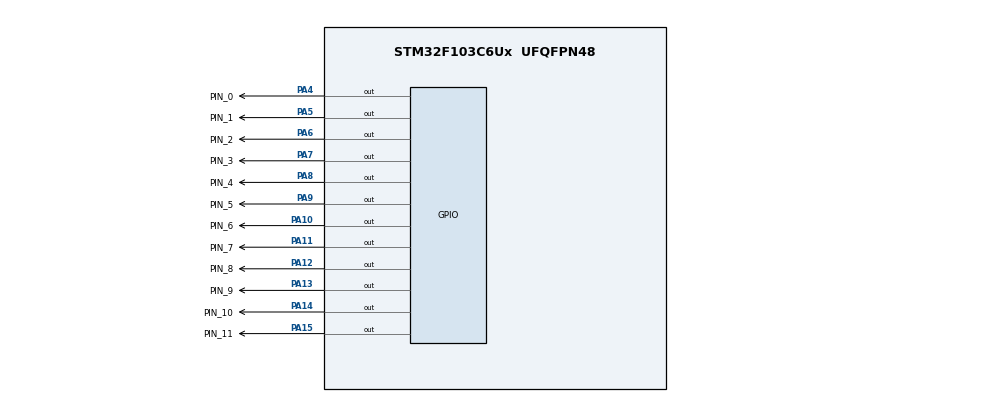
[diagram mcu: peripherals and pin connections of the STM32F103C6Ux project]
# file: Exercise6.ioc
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Mcu.Family=STM32F1
Mcu.Name=STM32F103C6Ux
Mcu.Package=UFQFPN48
NVIC.PriorityGroup=NVIC_PRIORITYGROUP_4
PA10.GPIO_Label=PIN_6
PA10.Signal=GPIO_Output
PA11.GPIO_Label=PIN_7
PA11.Signal=GPIO_Output
PA12.GPIO_Label=PIN_8
PA12.Signal=GPIO_Output
PA13.GPIO_Label=PIN_9
PA13.Signal=GPIO_Output
PA14.GPIO_Label=PIN_10
PA14.Signal=GPIO_Output
PA15.GPIO_Label=PIN_11
PA15.Signal=GPIO_Output
PA4.GPIO_Label=PIN_0
PA4.Signal=GPIO_Output
PA5.GPIO_Label=PIN_1
PA5.Signal=GPIO_Output
PA6.GPIO_Label=PIN_2
PA6.Signal=GPIO_Output
PA7.GPIO_Label=PIN_3
PA7.Signal=GPIO_Output
PA8.GPIO_Label=PIN_4
PA8.Signal=GPIO_Output
PA9.GPIO_Label=PIN_5
PA9.Signal=GPIO_Output
ProjectManager.HeapSize=0x200
ProjectManager.StackSize=0x400
ProjectManager.TargetToolchain=STM32CubeIDE
RCC.APB1Freq_Value=8000000
RCC.APB2Freq_Value=8000000
VP_SYS_VS_ND.Mode=No_Debug
board=custom

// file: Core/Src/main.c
/* USER CODE BEGIN Header */
/**
  ******************************************************************************
  * @file           : main.c
  * @brief          : Main program body
  ******************************************************************************
  * @attention
  *
  * <h2><center>&copy; Copyright (c) 2022 STMicroelectronics.
  * All rights reserved.</center></h2>
  *
  * This software component is licensed by ST under BSD 3-Clause license,
  * the "License"; You may not use this file except in compliance with the
  * License. You may obtain a copy of the License at:
  *                        opensource.org/licenses/BSD-3-Clause
  *
  ******************************************************************************
  */
/* USER CODE END Header */
#include "main.h"

void SystemClock_Config(void);
static void MX_GPIO_Init(void);

int main(void)
{

  /* MCU Configuration--------------------------------------------------------*/

  /* Reset of all peripherals, Initializes the Flash interface and the Systick. */
  HAL_Init();

  /* Configure the system clock */
  SystemClock_Config();

  /* Initialize all configured peripherals */
  MX_GPIO_Init();

  /* Infinite loop */
  /* USER CODE BEGIN WHILE */
  int x;
  scanf("%d", &x);
  while (1)
  {
    /* USER CODE END WHILE */

    /* USER CODE BEGIN 3 */
		  switch(x)
		  {
		  case 12:
			  HAL_GPIO_WritePin(PIN_0_GPIO_Port, PIN_0_Pin, RESET);
			  HAL_GPIO_WritePin(PIN_1_GPIO_Port, PIN_1_Pin, SET);
			  HAL_GPIO_WritePin(PIN_2_GPIO_Port, PIN_2_Pin, SET);
			  HAL_GPIO_WritePin(PIN_3_GPIO_Port, PIN_3_Pin, SET);
			  HAL_GPIO_WritePin(PIN_4_GPIO_Port, PIN_4_Pin, SET);
			  HAL_GPIO_WritePin(PIN_5_GPIO_Port, PIN_5_Pin, SET);
			  HAL_GPIO_WritePin(PIN_6_GPIO_Port, PIN_6_Pin, SET);
			  HAL_GPIO_WritePin(PIN_7_GPIO_Port, PIN_7_Pin, SET);
			  HAL_GPIO_WritePin(PIN_8_GPIO_Port, PIN_8_Pin, SET);
			  HAL_GPIO_WritePin(PIN_9_GPIO_Port, PIN_9_Pin, SET);
			  HAL_GPIO_WritePin(PIN_10_GPIO_Port, PIN_10_Pin, SET);
			  HAL_GPIO_WritePin(PIN_11_GPIO_Port, PIN_11_Pin, SET);
			  break;
		  case 1:
			  HAL_GPIO_WritePin(PIN_1_GPIO_Port, PIN_1_Pin, RESET);
			  HAL_GPIO_WritePin(PIN_0_GPIO_Port, PIN_0_Pin, SET);
			  HAL_GPIO_WritePin(PIN_2_GPIO_Port, PIN_2_Pin, SET);
			  HAL_GPIO_WritePin(PIN_3_GPIO_Port, PIN_3_Pin, SET);
			  HAL_GPIO_WritePin(PIN_4_GPIO_Port, PIN_4_Pin, SET);
			  HAL_GPIO_WritePin(PIN_5_GPIO_Port, PIN_5_Pin, SET);
			  HAL_GPIO_WritePin(PIN_6_GPIO_Port, PIN_6_Pin, SET);
			  HAL_GPIO_WritePin(PIN_7_GPIO_Port, PIN_7_Pin, SET);
			  HAL_GPIO_WritePin(PIN_8_GPIO_Port, PIN_8_Pin, SET);
			  HAL_GPIO_WritePin(PIN_9_GPIO_Port, PIN_9_Pin, SET);
			  HAL_GPIO_WritePin(PIN_10_GPIO_Port, PIN_10_Pin, SET);
			  HAL_GPIO_WritePin(PIN_11_GPIO_Port, PIN_11_Pin, SET);
			  break;
		  case 2:
			  HAL_GPIO_WritePin(PIN_2_GPIO_Port, PIN_2_Pin, RESET);
			  HAL_GPIO_WritePin(PIN_1_GPIO_Port, PIN_1_Pin, SET);
			  HAL_GPIO_WritePin(PIN_0_GPIO_Port, PIN_0_Pin, SET);
			  HAL_GPIO_WritePin(PIN_3_GPIO_Port, PIN_3_Pin, SET);
			  HAL_GPIO_WritePin(PIN_4_GPIO_Port, PIN_4_Pin, SET);
			  HAL_GPIO_WritePin(PIN_5_GPIO_Port, PIN_5_Pin, SET);
			  HAL_GPIO_WritePin(PIN_6_GPIO_Port, PIN_6_Pin, SET);
			  HAL_GPIO_WritePin(PIN_7_GPIO_Port, PIN_7_Pin, SET);
			  HAL_GPIO_WritePin(PIN_8_GPIO_Port, PIN_8_Pin, SET);
			  HAL_GPIO_WritePin(PIN_9_GPIO_Port, PIN_9_Pin, SET);
			  HAL_GPIO_WritePin(PIN_10_GPIO_Port, PIN_10_Pin, SET);
			  HAL_GPIO_WritePin(PIN_11_GPIO_Port, PIN_11_Pin, SET);
			  break;
		  case 3:
			  HAL_GPIO_WritePin(PIN_3_GPIO_Port, PIN_3_Pin, RESET);
			  HAL_GPIO_WritePin(PIN_1_GPIO_Port, PIN_1_Pin, SET);
			  HAL_GPIO_WritePin(PIN_2_GPIO_Port, PIN_2_Pin, SET);
			  HAL_GPIO_WritePin(PIN_0_GPIO_Port, PIN_0_Pin, SET);
			  HAL_GPIO_WritePin(PIN_4_GPIO_Port, PIN_4_Pin, SET);
			  HAL_GPIO_WritePin(PIN_5_GPIO_Port, PIN_5_Pin, SET);
			  HAL_GPIO_WritePin(PIN_6_GPIO_Port, PIN_6_Pin, SET);
			  HAL_GPIO_WritePin(PIN_7_GPIO_Port, PIN_7_Pin, SET);
			  HAL_GPIO_WritePin(PIN_8_GPIO_Port, PIN_8_Pin, SET);
			  HAL_GPIO_WritePin(PIN_9_GPIO_Port, PIN_9_Pin, SET);
			  HAL_GPIO_WritePin(PIN_10_GPIO_Port, PIN_10_Pin, SET);
			  HAL_GPIO_WritePin(PIN_11_GPIO_Port, PIN_11_Pin, SET);
			  break;
		  case 4:
			  HAL_GPIO_WritePin(PIN_4_GPIO_Port, PIN_4_Pin, RESET);
			  HAL_GPIO_WritePin(PIN_1_GPIO_Port, PIN_1_Pin, SET);
			  HAL_GPIO_WritePin(PIN_2_GPIO_Port, PIN_2_Pin, SET);
			  HAL_GPIO_WritePin(PIN_3_GPIO_Port, PIN_3_Pin, SET);
			  HAL_GPIO_WritePin(PIN_0_GPIO_Port, PIN_0_Pin, SET);
			  HAL_GPIO_WritePin(PIN_5_GPIO_Port, PIN_5_Pin, SET);
			  HAL_GPIO_WritePin(PIN_6_GPIO_Port, PIN_6_Pin, SET);
			  HAL_GPIO_WritePin(PIN_7_GPIO_Port, PIN_7_Pin, SET);
			  HAL_GPIO_WritePin(PIN_8_GPIO_Port, PIN_8_Pin, SET);
			  HAL_GPIO_WritePin(PIN_9_GPIO_Port, PIN_9_Pin, SET);
			  HAL_GPIO_WritePin(PIN_10_GPIO_Port, PIN_10_Pin, SET);
			  HAL_GPIO_WritePin(PIN_11_GPIO_Port, PIN_11_Pin, SET);
			  break;
		  case 5:
			  HAL_GPIO_WritePin(PIN_5_GPIO_Port, PIN_5_Pin, RESET);
			  HAL_GPIO_WritePin(PIN_1_GPIO_Port, PIN_1_Pin, SET);
			  HAL_GPIO_WritePin(PIN_2_GPIO_Port, PIN_2_Pin, SET);
			  HAL_GPIO_WritePin(PIN_3_GPIO_Port, PIN_3_Pin, SET);
			  HAL_GPIO_WritePin(PIN_4_GPIO_Port, PIN_4_Pin, SET);
			  HAL_GPIO_WritePin(PIN_0_GPIO_Port, PIN_0_Pin, SET);
			  HAL_GPIO_WritePin(PIN_6_GPIO_Port, PIN_6_Pin, SET);
			  HAL_GPIO_WritePin(PIN_7_GPIO_Port, PIN_7_Pin, SET);
			  HAL_GPIO_WritePin(PIN_8_GPIO_Port, PIN_8_Pin, SET);
			  HAL_GPIO_WritePin(PIN_9_GPIO_Port, PIN_9_Pin, SET);
			  HAL_GPIO_WritePin(PIN_10_GPIO_Port, PIN_10_Pin, SET);
			  HAL_GPIO_WritePin(PIN_11_GPIO_Port, PIN_11_Pin, SET);
			  break;
		  case 6:
			  HAL_GPIO_WritePin(PIN_6_GPIO_Port, PIN_6_Pin, RESET);
			  HAL_GPIO_WritePin(PIN_1_GPIO_Port, PIN_1_Pin, SET);
			  HAL_GPIO_WritePin(PIN_2_GPIO_Port, PIN_2_Pin, SET);
			  HAL_GPIO_WritePin(PIN_3_GPIO_Port, PIN_3_Pin, SET);
			  HAL_GPIO_WritePin(PIN_4_GPIO_Port, PIN_4_Pin, SET);
			  HAL_GPIO_WritePin(PIN_5_GPIO_Port, PIN_5_Pin, SET);
			  HAL_GPIO_WritePin(PIN_0_GPIO_Port, PIN_0_Pin, SET);
			  HAL_GPIO_WritePin(PIN_7_GPIO_Port, PIN_7_Pin, SET);
			  HAL_GPIO_WritePin(PIN_8_GPIO_Port, PIN_8_Pin, SET);
			  HAL_GPIO_WritePin(PIN_9_GPIO_Port, PIN_9_Pin, SET);
			  HAL_GPIO_WritePin(PIN_10_GPIO_Port, PIN_10_Pin, SET);
			  HAL_GPIO_WritePin(PIN_11_GPIO_Port, PIN_11_Pin, SET);
			  break;
		  case 7:
			  HAL_GPIO_WritePin(PIN_7_GPIO_Port, PIN_7_Pin, RESET);
			  HAL_GPIO_WritePin(PIN_1_GPIO_Port, PIN_1_Pin, SET);
			  HAL_GPIO_WritePin(PIN_2_GPIO_Port, PIN_2_Pin, SET);
			  HAL_GPIO_WritePin(PIN_3_GPIO_Port, PIN_3_Pin, SET);
			  HAL_GPIO_WritePin(PIN_4_GPIO_Port, PIN_4_Pin, SET);
			  HAL_GPIO_WritePin(PIN_5_GPIO_Port, PIN_5_Pin, SET);
			  HAL_GPIO_WritePin(PIN_6_GPIO_Port, PIN_6_Pin, SET);
			  HAL_GPIO_WritePin(PIN_0_GPIO_Port, PIN_0_Pin, SET);
			  HAL_GPIO_WritePin(PIN_8_GPIO_Port, PIN_8_Pin, SET);
			  HAL_GPIO_WritePin(PIN_9_GPIO_Port, PIN_9_Pin, SET);
			  HAL_GPIO_WritePin(PIN_10_GPIO_Port, PIN_10_Pin, SET);
			  HAL_GPIO_WritePin(PIN_11_GPIO_Port, PIN_11_Pin, SET);
			  break;
		  case 8:
			  HAL_GPIO_WritePin(PIN_8_GPIO_Port, PIN_8_Pin, RESET);
			  HAL_GPIO_WritePin(PIN_1_GPIO_Port, PIN_1_Pin, SET);
			  HAL_GPIO_WritePin(PIN_2_GPIO_Port, PIN_2_Pin, SET);
			  HAL_GPIO_WritePin(PIN_3_GPIO_Port, PIN_3_Pin, SET);
			  HAL_GPIO_WritePin(PIN_4_GPIO_Port, PIN_4_Pin, SET);
			  HAL_GPIO_WritePin(PIN_5_GPIO_Port, PIN_5_Pin, SET);
			  HAL_GPIO_WritePin(PIN_6_GPIO_Port, PIN_6_Pin, SET);
			  HAL_GPIO_WritePin(PIN_7_GPIO_Port, PIN_7_Pin, SET);
			  HAL_GPIO_WritePin(PIN_0_GPIO_Port, PIN_0_Pin, SET);
			  HAL_GPIO_WritePin(PIN_9_GPIO_Port, PIN_9_Pin, SET);
			  HAL_GPIO_WritePin(PIN_10_GPIO_Port, PIN_10_Pin, SET);
			  HAL_GPIO_WritePin(PIN_11_GPIO_Port, PIN_11_Pin, SET);
			  break;
		  case 9:
			  HAL_GPIO_WritePin(PIN_9_GPIO_Port, PIN_9_Pin, RESET);
			  HAL_GPIO_WritePin(PIN_1_GPIO_Port, PIN_1_Pin, SET);
			  HAL_GPIO_WritePin(PIN_2_GPIO_Port, PIN_2_Pin, SET);
			  HAL_GPIO_WritePin(PIN_3_GPIO_Port, PIN_3_Pin, SET);
			  HAL_GPIO_WritePin(PIN_4_GPIO_Port, PIN_4_Pin, SET);
			  HAL_GPIO_WritePin(PIN_5_GPIO_Port, PIN_5_Pin, SET);
			  HAL_GPIO_WritePin(PIN_6_GPIO_Port, PIN_6_Pin, SET);
			  HAL_GPIO_WritePin(PIN_7_GPIO_Port, PIN_7_Pin, SET);
			  HAL_GPIO_WritePin(PIN_8_GPIO_Port, PIN_8_Pin, SET);
			  HAL_GPIO_WritePin(PIN_0_GPIO_Port, PIN_0_Pin, SET);
			  HAL_GPIO_WritePin(PIN_10_GPIO_Port, PIN_10_Pin, SET);
			  HAL_GPIO_WritePin(PIN_11_GPIO_Port, PIN_11_Pin, SET);
			  break;
		  case 10:
			  HAL_GPIO_WritePin(PIN_10_GPIO_Port, PIN_10_Pin, RESET);
			  HAL_GPIO_WritePin(PIN_1_GPIO_Port, PIN_1_Pin, SET);
			  HAL_GPIO_WritePin(PIN_2_GPIO_Port, PIN_2_Pin, SET);
			  HAL_GPIO_WritePin(PIN_3_GPIO_Port, PIN_3_Pin, SET);
			  HAL_GPIO_WritePin(PIN_4_GPIO_Port, PIN_4_Pin, SET);
			  HAL_GPIO_WritePin(PIN_5_GPIO_Port, PIN_5_Pin, SET);
			  HAL_GPIO_WritePin(PIN_6_GPIO_Port, PIN_6_Pin, SET);
			  HAL_GPIO_WritePin(PIN_7_GPIO_Port, PIN_7_Pin, SET);
			  HAL_GPIO_WritePin(PIN_8_GPIO_Port, PIN_8_Pin, SET);
			  HAL_GPIO_WritePin(PIN_9_GPIO_Port, PIN_9_Pin, SET);
			  HAL_GPIO_WritePin(PIN_0_GPIO_Port, PIN_0_Pin, SET);
			  HAL_GPIO_WritePin(PIN_11_GPIO_Port, PIN_11_Pin, SET);
			  break;
		  case 11:
			  HAL_GPIO_WritePin(PIN_11_GPIO_Port, PIN_11_Pin, RESET);
			  HAL_GPIO_WritePin(PIN_1_GPIO_Port, PIN_1_Pin, SET);
			  HAL_GPIO_WritePin(PIN_2_GPIO_Port, PIN_2_Pin, SET);
			  HAL_GPIO_WritePin(PIN_3_GPIO_Port, PIN_3_Pin, SET);
			  HAL_GPIO_WritePin(PIN_4_GPIO_Port, PIN_4_Pin, SET);
			  HAL_GPIO_WritePin(PIN_5_GPIO_Port, PIN_5_Pin, SET);
			  HAL_GPIO_WritePin(PIN_6_GPIO_Port, PIN_6_Pin, SET);
			  HAL_GPIO_WritePin(PIN_7_GPIO_Port, PIN_7_Pin, SET);
			  HAL_GPIO_WritePin(PIN_8_GPIO_Port, PIN_8_Pin, SET);
			  HAL_GPIO_WritePin(PIN_9_GPIO_Port, PIN_9_Pin, SET);
			  HAL_GPIO_WritePin(PIN_10_GPIO_Port, PIN_10_Pin, SET);
			  HAL_GPIO_WritePin(PIN_0_GPIO_Port, PIN_0_Pin, SET);
			  break;
		  default:
			  HAL_GPIO_WritePin(PIN_0_GPIO_Port, PIN_0_Pin, RESET);
			  HAL_GPIO_WritePin(PIN_1_GPIO_Port, PIN_1_Pin, SET);
			  HAL_GPIO_WritePin(PIN_2_GPIO_Port, PIN_2_Pin, SET);
			  HAL_GPIO_WritePin(PIN_3_GPIO_Port, PIN_3_Pin, SET);
			  HAL_GPIO_WritePin(PIN_4_GPIO_Port, PIN_4_Pin, SET);
			  HAL_GPIO_WritePin(PIN_5_GPIO_Port, PIN_5_Pin, SET);
			  HAL_GPIO_WritePin(PIN_6_GPIO_Port, PIN_6_Pin, SET);
			  HAL_GPIO_WritePin(PIN_7_GPIO_Port, PIN_7_Pin, SET);
			  HAL_GPIO_WritePin(PIN_8_GPIO_Port, PIN_8_Pin, SET);
			  HAL_GPIO_WritePin(PIN_9_GPIO_Port, PIN_9_Pin, SET);
			  HAL_GPIO_WritePin(PIN_10_GPIO_Port, PIN_10_Pin, SET);
			  HAL_GPIO_WritePin(PIN_11_GPIO_Port, PIN_11_Pin, SET);
		  }
		  HAL_Delay(1000);
  }
  /* USER CODE END 3 */
}

void SystemClock_Config(void)
{
  RCC_OscInitTypeDef RCC_OscInitStruct = {0};
  RCC_ClkInitTypeDef RCC_ClkInitStruct = {0};

  /** Initializes the RCC Oscillators according to the specified parameters
  * in the RCC_OscInitTypeDef structure.
  */
  RCC_OscInitStruct.OscillatorType = RCC_OSCILLATORTYPE_HSI;
  RCC_OscInitStruct.HSIState = RCC_HSI_ON;
  RCC_OscInitStruct.HSICalibrationValue = RCC_HSICALIBRATION_DEFAULT;
  RCC_OscInitStruct.PLL.PLLState = RCC_PLL_NONE;
  if (HAL_RCC_OscConfig(&RCC_OscInitStruct) != HAL_OK)
  {
    Error_Handler();
  }
  /** Initializes the CPU, AHB and APB buses clocks
  */
  RCC_ClkInitStruct.ClockType = RCC_CLOCKTYPE_HCLK|RCC_CLOCKTYPE_SYSCLK
                              |RCC_CLOCKTYPE_PCLK1|RCC_CLOCKTYPE_PCLK2;
  RCC_ClkInitStruct.SYSCLKSource = RCC_SYSCLKSOURCE_HSI;
  RCC_ClkInitStruct.AHBCLKDivider = RCC_SYSCLK_DIV1;
  RCC_ClkInitStruct.APB1CLKDivider = RCC_HCLK_DIV1;
  RCC_ClkInitStruct.APB2CLKDivider = RCC_HCLK_DIV1;

  if (HAL_RCC_ClockConfig(&RCC_ClkInitStruct, FLASH_LATENCY_0) != HAL_OK)
  {
    Error_Handler();
  }
}

static void MX_GPIO_Init(void)
{
  GPIO_InitTypeDef GPIO_InitStruct = {0};

  /* GPIO Ports Clock Enable */
  __HAL_RCC_GPIOA_CLK_ENABLE();

  /*Configure GPIO pin Output Level */
  HAL_GPIO_WritePin(GPIOA, PIN_0_Pin|PIN_1_Pin|PIN_2_Pin|PIN_3_Pin
                          |PIN_4_Pin|PIN_5_Pin|PIN_6_Pin|PIN_7_Pin
                          |PIN_8_Pin|PIN_9_Pin|PIN_10_Pin|PIN_11_Pin, GPIO_PIN_RESET);

  /*Configure GPIO pins : PIN_0_Pin PIN_1_Pin PIN_2_Pin PIN_3_Pin
                           PIN_4_Pin PIN_5_Pin PIN_6_Pin PIN_7_Pin
                           PIN_8_Pin PIN_9_Pin PIN_10_Pin PIN_11_Pin */
  GPIO_InitStruct.Pin = PIN_0_Pin|PIN_1_Pin|PIN_2_Pin|PIN_3_Pin
                          |PIN_4_Pin|PIN_5_Pin|PIN_6_Pin|PIN_7_Pin
                          |PIN_8_Pin|PIN_9_Pin|PIN_10_Pin|PIN_11_Pin;
  GPIO_InitStruct.Mode = GPIO_MODE_OUTPUT_PP;
  GPIO_InitStruct.Pull = GPIO_NOPULL;
  GPIO_InitStruct.Speed = GPIO_SPEED_FREQ_LOW;
  HAL_GPIO_Init(GPIOA, &GPIO_InitStruct);

}

void Error_Handler(void)
{
  __disable_irq();
  while (1)
  {
  }
}

/************************ (C) COPYRIGHT STMicroelectronics *****END OF FILE****/
